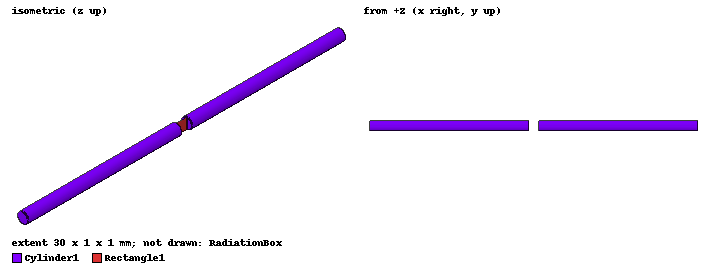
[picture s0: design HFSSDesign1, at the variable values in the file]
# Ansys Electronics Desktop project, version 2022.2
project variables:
  $AntenaLength = $Lambda/2
  $Diameter = 1mm
  $Lambda = 60mm
  $GapLength = 1mm
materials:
  vacuum: permittivity=1
  pec: conductivity=1e+30
  air: permittivity=1.0006 permeability=1.0000004

design HFSSDesign1 (HFSS, DrivenModal, model units mm)
options: Calculate_Lossy_Dielectrics Save_Adaptive_support_files
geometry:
  Cylinder1 [pec] = cylinder(axis=X, base_centre=(-$AntenaLength/2, 0mm, 0mm), radius=$Diameter/2, height=$AntenaLength)
  Cylinder2 = cylinder(axis=X, base_centre=(-$GapLength/2, 0mm, 0mm), radius=$Diameter/2, height=$GapLength)
  Cylinder1.subtract(Cylinder2)
  Rectangle1 = rectangle(corner=(-$GapLength/2, 0mm, -$Diameter/2), z_size=$Diameter, x_size=$GapLength)
  RadiationBox [air] = box(corner=(-$Lambda/2, -$Lambda/4-0.5mm, -$Lambda/4-0.5mm), size=($Lambda, $Lambda/2+1mm, $Lambda/2+1mm))
  coordinate_system RelativeCS1 = origin=(-120mm, 0mm, 0mm) x=(1mm, 0mm, 0mm) y=(0mm, 1mm, 0mm)
  coordinate_system RelativeCS2 = origin=(-120mm, 0mm, 0mm) x=(1mm, 0mm, 0mm) y=(0mm, 1mm, 0mm)
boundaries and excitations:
  Master1: Primary Faces=RadiationBox.face(+x) CoordSysVector{(30, 15.5, -15.5) -> (30, -15.5, -15.5)}
  Slave1: Secondary Faces=RadiationBox.face(-x) CoordSysVector{(-30, 15.5, -15.5) -> (-30, -15.5, -15.5)} ReverseV primary=Master1 PhaseDelay=UseScanAngle Phi=0deg Theta=0deg
  Master2: Primary Faces=RadiationBox.face(+y) CoordSysVector{(-30, 15.5, -15.5) -> (30, 15.5, -15.5)}
  Slave2: Secondary Faces=RadiationBox.face(-y) CoordSysVector{(-30, -15.5, -15.5) -> (30, -15.5, -15.5)} ReverseV primary=Master2 PhaseDelay=UseScanAngle Phi=0deg Theta=0deg
  Rad1: Radiation Faces=RadiationBox.face(+z, -z)
  1: Lumped Port Objects=Rectangle1 Modes{Mode1{IntLine{(-0.5, 0, 0) -> (0.5, 0, 0)} CharImp=Zpi RenormImp=73ohm}} Impedance=50ohm
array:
  Type=Regular Name=A UseAirObjects RowPrimaryBnd=Master1 ColumnPrimaryBnd=Master2 RowDimension=5 ColumnDimension=1 ShowCellNumber RenderType=0 Padding=1 PostProcessRow=1 PostProcessCol=1 ReferenceCSID=1
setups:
  Setup1: HfssDriven Frequency=5GHz MaxDeltaS=0.02 MaximumPasses=20 MinimumPasses=1 MinimumConvergedPasses=1 PercentRefinement=30 BasisOrder=-1 PortAccuracy=2 DrivenSolverType="Direct Solver"
    sweep Sweep: 1GHz to 10GHz step 0.1GHz; Type=Interpolating InterpTolerance=0.5 InterpMaxSolns=250 InterpUsePortImped=false
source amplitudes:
  1:1: 1 0deg
  1:2..1:5: 0 0deg
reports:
  S Parameter Plot 1: dB(S(A[1,1]1,A[1,1]1)) vs Freq on Setup1 : Sweep
